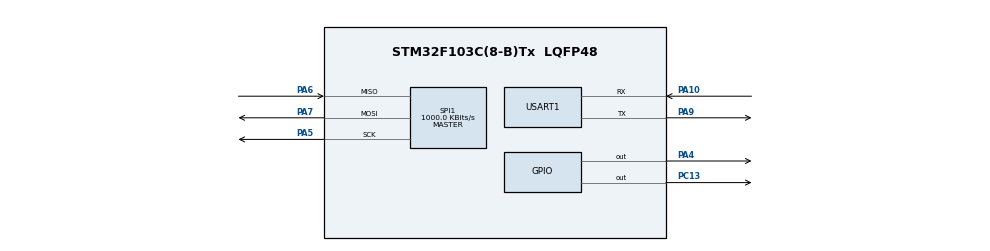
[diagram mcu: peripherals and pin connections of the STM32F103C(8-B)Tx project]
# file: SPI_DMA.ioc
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Dma.Request0=SPI1_TX
Dma.Request1=SPI1_RX
Dma.SPI1_RX.1.Direction=DMA_PERIPH_TO_MEMORY
Dma.SPI1_RX.1.Instance=DMA1_Channel2
Dma.SPI1_RX.1.MemDataAlignment=DMA_MDATAALIGN_BYTE
Dma.SPI1_RX.1.MemInc=DMA_MINC_ENABLE
Dma.SPI1_RX.1.Mode=DMA_CIRCULAR
Dma.SPI1_RX.1.PeriphDataAlignment=DMA_PDATAALIGN_BYTE
Dma.SPI1_RX.1.PeriphInc=DMA_PINC_DISABLE
Dma.SPI1_RX.1.Priority=DMA_PRIORITY_LOW
Dma.SPI1_TX.0.Direction=DMA_MEMORY_TO_PERIPH
Dma.SPI1_TX.0.Instance=DMA1_Channel3
Dma.SPI1_TX.0.MemDataAlignment=DMA_MDATAALIGN_BYTE
Dma.SPI1_TX.0.MemInc=DMA_MINC_ENABLE
Dma.SPI1_TX.0.Mode=DMA_NORMAL
Dma.SPI1_TX.0.PeriphDataAlignment=DMA_PDATAALIGN_BYTE
Dma.SPI1_TX.0.PeriphInc=DMA_PINC_DISABLE
Dma.SPI1_TX.0.Priority=DMA_PRIORITY_LOW
Mcu.Family=STM32F1
Mcu.Name=STM32F103C(8-B)Tx
Mcu.Package=LQFP48
NVIC.DMA1_Channel2_IRQn=true\:0\:0\:false\:false\:true\:false\:true
NVIC.DMA1_Channel3_IRQn=true\:0\:0\:false\:false\:true\:false\:true
NVIC.PriorityGroup=NVIC_PRIORITYGROUP_4
PA10.Mode=Asynchronous
PA10.Signal=USART1_RX
PA13.Mode=Trace_Asynchronous_SW
PA13.Signal=SYS_JTMS-SWDIO
PA14.Mode=Trace_Asynchronous_SW
PA14.Signal=SYS_JTCK-SWCLK
PA4.Signal=GPIO_Output
PA5.Mode=Full_Duplex_Master
PA5.Signal=SPI1_SCK
PA6.Mode=Full_Duplex_Master
PA6.Signal=SPI1_MISO
PA7.Mode=Full_Duplex_Master
PA7.Signal=SPI1_MOSI
PA9.Mode=Asynchronous
PA9.Signal=USART1_TX
PB3.Mode=Trace_Asynchronous_SW
PB3.Signal=SYS_JTDO-TRACESWO
PC13-TAMPER-RTC.Signal=GPIO_Output
ProjectManager.HeapSize=0x200
ProjectManager.StackSize=0x400
ProjectManager.TargetToolchain=Makefile
RCC.APB1Freq_Value=8000000
RCC.APB2Freq_Value=8000000
SPI1.BaudRatePrescaler=SPI_BAUDRATEPRESCALER_8
SPI1.CLKPhase=SPI_PHASE_2EDGE
SPI1.CLKPolarity=SPI_POLARITY_HIGH
SPI1.CalculateBaudRate=1000.0 KBits/s
SPI1.Direction=SPI_DIRECTION_2LINES
SPI1.Mode=SPI_MODE_MASTER
SPI1.VirtualType=VM_MASTER
USART1.VirtualMode=VM_ASYNC
board=custom

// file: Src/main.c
/* USER CODE BEGIN Header */
/**
  ******************************************************************************
  * @file           : main.c
  * @brief          : Main program body
  ******************************************************************************
  * @attention
  *
  * <h2><center>&copy; Copyright (c) 2020 STMicroelectronics.
  * All rights reserved.</center></h2>
  *
  * This software component is licensed by ST under BSD 3-Clause license,
  * the "License"; You may not use this file except in compliance with the
  * License. You may obtain a copy of the License at:
  *                        opensource.org/licenses/BSD-3-Clause
  *
  ******************************************************************************
  */
/* USER CODE END Header */
#include "main.h"
#include "dma.h"
#include "spi.h"
#include "usart.h"
#include "gpio.h"

/* USER CODE BEGIN Includes */
#include <stdio.h>
#include "MAX7219.h"
/* USER CODE END Includes */

void SystemClock_Config(void);

/* USER CODE BEGIN 0 */
uint8_t RxBuffer[LEN_BUFF] = {0};
uint8_t TxBuffer[LEN_BUFF] = {0};

void Activate_DMA(void)
{
  LL_DMA_ConfigAddresses(DMA1, LL_DMA_CHANNEL_2,
                         LL_SPI_DMA_GetRegAddr(SPI1), (uint32_t)(RxBuffer),
                         LL_DMA_GetDataTransferDirection(DMA1, LL_DMA_CHANNEL_2));
  LL_DMA_SetDataLength(DMA1, LL_DMA_CHANNEL_2, LEN_BUFF);
  LL_DMA_EnableChannel(DMA1, LL_DMA_CHANNEL_2);

  LL_DMA_ConfigAddresses(DMA1, LL_DMA_CHANNEL_3,
                         (uint32_t)(TxBuffer), LL_SPI_DMA_GetRegAddr(SPI1),
                         LL_DMA_GetDataTransferDirection(DMA1, LL_DMA_CHANNEL_3));
  LL_DMA_SetDataLength(DMA1, LL_DMA_CHANNEL_3, LEN_BUFF);
  LL_DMA_EnableChannel(DMA1, LL_DMA_CHANNEL_3);
}
/* USER CODE END 0 */

int main(void)
{

  /* MCU Configuration--------------------------------------------------------*/

  /* Reset of all peripherals, Initializes the Flash interface and the Systick. */

  LL_APB2_GRP1_EnableClock(LL_APB2_GRP1_PERIPH_AFIO);
  LL_APB1_GRP1_EnableClock(LL_APB1_GRP1_PERIPH_PWR);

  NVIC_SetPriorityGrouping(NVIC_PRIORITYGROUP_4);

  /* System interrupt init*/

  /** NOJTAG: JTAG-DP Disabled and SW-DP Enabled
  */
  LL_GPIO_AF_Remap_SWJ_NOJTAG();

  /* Configure the system clock */
  SystemClock_Config();

  /* Initialize all configured peripherals */
  MX_GPIO_Init();
  MX_DMA_Init();
  MX_SPI1_Init();
  MX_USART1_UART_Init();
  /* USER CODE BEGIN 2 */
  Configure_DMA();
  Configure_SPI();
  Activate_DMA();
  LL_SPI_Enable(SPI1);
  Max7219_Init();
  printf("OK\r\n");
  /* USER CODE END 2 */

  /* Infinite loop */
  while (1)
  {

    /* USER CODE BEGIN 3 */
    for (uint16_t i = 0; i < 8; i++)
    {
      Write_Max7219(0x01 + i, 0xFF << i);
    }

    LL_GPIO_TogglePin(GPIOC, LL_GPIO_PIN_13);
    LL_mDelay(1000);

    for (uint16_t i = 0; i < 8; i++)
    {
      Write_Max7219(0x01 + i, 0xFF >> i);
    }

    LL_GPIO_TogglePin(GPIOC, LL_GPIO_PIN_13);
    LL_mDelay(1000);
  }
  /* USER CODE END 3 */
}

void SystemClock_Config(void)
{
  LL_FLASH_SetLatency(LL_FLASH_LATENCY_0);
  while(LL_FLASH_GetLatency()!= LL_FLASH_LATENCY_0)
  {
  }
  LL_RCC_HSI_SetCalibTrimming(16);
  LL_RCC_HSI_Enable();

   /* Wait till HSI is ready */
  while(LL_RCC_HSI_IsReady() != 1)
  {

  }
  LL_RCC_SetAHBPrescaler(LL_RCC_SYSCLK_DIV_1);
  LL_RCC_SetAPB1Prescaler(LL_RCC_APB1_DIV_1);
  LL_RCC_SetAPB2Prescaler(LL_RCC_APB2_DIV_1);
  LL_RCC_SetSysClkSource(LL_RCC_SYS_CLKSOURCE_HSI);

   /* Wait till System clock is ready */
  while(LL_RCC_GetSysClkSource() != LL_RCC_SYS_CLKSOURCE_STATUS_HSI)
  {

  }
  LL_Init1msTick(8000000);
  LL_SetSystemCoreClock(8000000);
}

/* USER CODE BEGIN 4 */
void SPI_Receive_Callback(void)
{
}

void SPI_Transmit_Callback(void)
{
  while (!LL_SPI_IsActiveFlag_TXE(SPI1))
  {
  }

  LL_DMA_DisableChannel(DMA1, LL_DMA_CHANNEL_3);
  LL_DMA_ConfigAddresses(DMA1, LL_DMA_CHANNEL_3,
                         (uint32_t)(TxBuffer), LL_SPI_DMA_GetRegAddr(SPI1),
                         LL_DMA_GetDataTransferDirection(DMA1, LL_DMA_CHANNEL_3));
  LL_DMA_SetDataLength(DMA1, LL_DMA_CHANNEL_3, LEN_BUFF);

  while (LL_SPI_IsActiveFlag_BSY(SPI1))
  {
  }
  LL_GPIO_SetOutputPin(GPIOA, LL_GPIO_PIN_4);
}

/* USER CODE END 4 */

void Error_Handler(void)
{
  __disable_irq();
  while (1)
  {
  }
}

/************************ (C) COPYRIGHT STMicroelectronics *****END OF FILE****/
